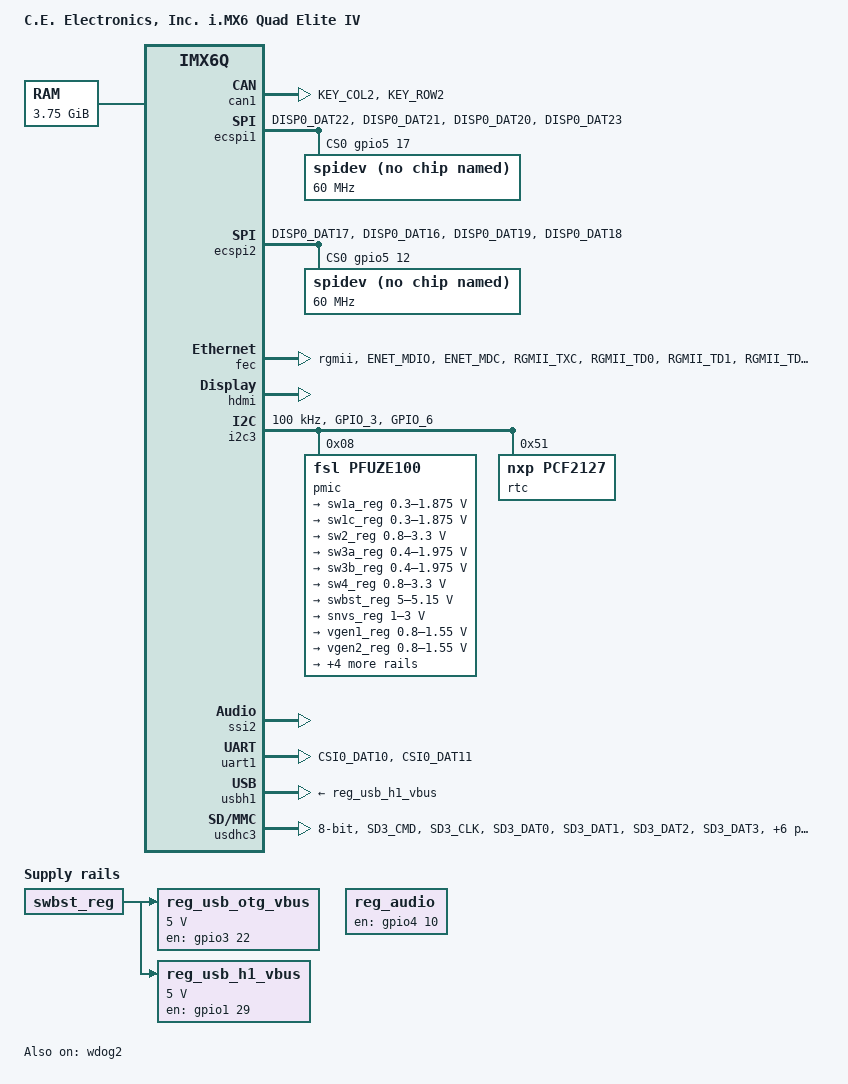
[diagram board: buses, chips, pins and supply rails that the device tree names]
// SPDX-License-Identifier: GPL-2.0+
//
// Copyright 2012 Freescale Semiconductor, Inc.
// Copyright 2011 Linaro Ltd.

/dts-v1/;

#include "imx6q.dtsi"
#include <dt-bindings/clock/imx6qdl-clock.h>
#include <dt-bindings/gpio/gpio.h>
#include <dt-bindings/input/input.h>

/ {
	model = "C.E. Electronics, Inc. i.MX6 Quad Elite IV";
	compatible = "ce,imx6q-eliteiv", "fsl,imx6q";
	
	chosen {
		stdout-path = &uart1;
	};

	memory@10000000 {
		reg = <0x10000000 0xEFFFFFFF>;
	};

	regulators {
		compatible = "simple-bus";
		#address-cells = <1>;
		#size-cells = <0>;

		reg_usb_otg_vbus: regulator@0 {
			compatible = "regulator-fixed";
			reg = <0>;
			regulator-name = "usb_otg_vbus";
			regulator-min-microvolt = <5000000>;
			regulator-max-microvolt = <5000000>;
			gpio = <&gpio3 22 0>;
			enable-active-high;
			vin-supply = <&swbst_reg>;
		};

		reg_usb_h1_vbus: regulator@1 {
			compatible = "regulator-fixed";
			reg = <1>;
			regulator-name = "usb_h1_vbus";
			regulator-min-microvolt = <5000000>;
			regulator-max-microvolt = <5000000>;
			gpio = <&gpio1 29 0>;
			enable-active-high;
			vin-supply = <&swbst_reg>;
		};

		reg_audio: regulator@2 {
			compatible = "regulator-fixed";
			reg = <2>;
			regulator-name = "wm8962-supply";
			gpio = <&gpio4 10 0>;
			enable-active-high;
		};
	};
};

&can1 {
	pinctrl-names = "default";
	pinctrl-0 = <&pinctrl_flexcan1>;
	status = "okay";
};

/* Elite IV SPI1 FPGA Programming */
&ecspi1 {
	cs-gpios = <&gpio5 17 GPIO_ACTIVE_HIGH>;
	pinctrl-names = "default";
	pinctrl-0 = <&pinctrl_ecspi1>;
	status = "okay";

	spidev@0 {
		compatible = "spidev";
		reg = <0>;
		spi-max-frequency = <60000000>;
	};
};

/* Elite IV SPI2 FPGA Control and Configuration */
&ecspi2 {
	cs-gpios = <&gpio5 12 GPIO_ACTIVE_HIGH>;
	pinctrl-names = "default";
	pinctrl-0 = <&pinctrl_ecspi2>;
	status = "okay";

	spidev@0 {
		compatible = "spidev";
		reg = <0>;
		spi-max-frequency = <60000000>;
	};
};

&ipu1_csi0_from_ipu1_csi0_mux {
	bus-width = <8>;
	data-shift = <12>; /* Lines 19:12 used */
	hsync-active = <1>;
	vsync-active = <1>;
};

&clks {
	assigned-clocks = <&clks IMX6QDL_CLK_LDB_DI0_SEL>,
			  <&clks IMX6QDL_CLK_LDB_DI1_SEL>;
	assigned-clock-parents = <&clks IMX6QDL_CLK_PLL3_USB_OTG>,
				 <&clks IMX6QDL_CLK_PLL3_USB_OTG>;
};

&fec {
	pinctrl-names = "default";
	pinctrl-0 = <&pinctrl_enet>;
	phy-mode = "rgmii";
	phy-reset-gpios = <&gpio1 25 GPIO_ACTIVE_LOW>;
	status = "okay";
};

&hdmi {
	ddc-i2c-bus = <&i2c3>;
	status = "okay";
};

&i2c3 {
	clock-frequency = <100000>;
	pinctrl-names = "default";
	pinctrl-0 = <&pinctrl_i2c3>;
	status = "okay";

	pmic: pfuze100@8 {
		compatible = "fsl,pfuze100";
		reg = <0x08>;

		regulators {
			sw1a_reg: sw1ab {
				regulator-min-microvolt = <300000>;
				regulator-max-microvolt = <1875000>;
				regulator-boot-on;
				regulator-always-on;
				regulator-ramp-delay = <6250>;
			};

			sw1c_reg: sw1c {
				regulator-min-microvolt = <300000>;
				regulator-max-microvolt = <1875000>;
				regulator-boot-on;
				regulator-always-on;
				regulator-ramp-delay = <6250>;
			};

			sw2_reg: sw2 {
				regulator-min-microvolt = <800000>;
				regulator-max-microvolt = <3300000>;
				regulator-boot-on;
				regulator-always-on;
				regulator-ramp-delay = <6250>;
			};

			sw3a_reg: sw3a {
				regulator-min-microvolt = <400000>;
				regulator-max-microvolt = <1975000>;
				regulator-boot-on;
				regulator-always-on;
			};

			sw3b_reg: sw3b {
				regulator-min-microvolt = <400000>;
				regulator-max-microvolt = <1975000>;
				regulator-boot-on;
				regulator-always-on;
			};

			sw4_reg: sw4 {
				regulator-min-microvolt = <800000>;
				regulator-max-microvolt = <3300000>;
				regulator-always-on;
			};

			swbst_reg: swbst {
				regulator-min-microvolt = <5000000>;
				regulator-max-microvolt = <5150000>;
			};

			snvs_reg: vsnvs {
				regulator-min-microvolt = <1000000>;
				regulator-max-microvolt = <3000000>;
				regulator-boot-on;
				regulator-always-on;
			};

			vref_reg: vrefddr {
				regulator-boot-on;
				regulator-always-on;
			};

			vgen1_reg: vgen1 {
				regulator-min-microvolt = <800000>;
				regulator-max-microvolt = <1550000>;
			};

			vgen2_reg: vgen2 {
				regulator-min-microvolt = <800000>;
				regulator-max-microvolt = <1550000>;
			};

			vgen3_reg: vgen3 {
				regulator-min-microvolt = <1800000>;
				regulator-max-microvolt = <3300000>;
			};

			vgen4_reg: vgen4 {
				regulator-min-microvolt = <1800000>;
				regulator-max-microvolt = <3300000>;
				regulator-always-on;
			};

			vgen5_reg: vgen5 {
				regulator-min-microvolt = <1800000>;
				regulator-max-microvolt = <3300000>;
				regulator-always-on;
			};

			vgen6_reg: vgen6 {
				regulator-min-microvolt = <1800000>;
				regulator-max-microvolt = <3300000>;
				regulator-always-on;
			};
		};
	};
	
	rtc: pcf2127@51 {
		compatible = "nxp,pcf2127";
		reg = <0x51>;
		status = "okay";
	};
};


&iomuxc {
	pinctrl-names = "default";
	pinctrl-0 = <&pinctrl_hog>;

	pinctrl_hog: hoggrp {
		fsl,pins = <
			MX6QDL_PAD_GPIO_19__GPIO4_IO05 0x1b0b0
			MX6QDL_PAD_NANDF_D1__GPIO2_IO01 0x1b0b0
			MX6QDL_PAD_EIM_D22__GPIO3_IO22  0x1b0b0
		>;
	};

	pinctrl_ecspi1: ecspi1grp {
		fsl,pins = <
			MX6QDL_PAD_DISP0_DAT22__ECSPI1_MISO 0x100b1
			MX6QDL_PAD_DISP0_DAT21__ECSPI1_MOSI 0x100b1
			MX6QDL_PAD_DISP0_DAT20__ECSPI1_SCLK 0x100b1
			MX6QDL_PAD_DISP0_DAT23__GPIO5_IO17 0x1b0b0
		>;
	};

	pinctrl_ecspi2: ecspi2grp {
		fsl,pins = <
			MX6QDL_PAD_DISP0_DAT17__ECSPI2_MISO 0x100b1
			MX6QDL_PAD_DISP0_DAT16__ECSPI2_MOSI 0x100b1
			MX6QDL_PAD_DISP0_DAT19__ECSPI2_SCLK 0x100b1
			MX6QDL_PAD_DISP0_DAT18__GPIO5_IO12 0x1b0b0
		>;
	};

	pinctrl_enet: enetgrp {
		fsl,pins = <
			MX6QDL_PAD_ENET_MDIO__ENET_MDIO		0x1b0b0
			MX6QDL_PAD_ENET_MDC__ENET_MDC		0x1b0b0
			MX6QDL_PAD_RGMII_TXC__RGMII_TXC		0x1b030
			MX6QDL_PAD_RGMII_TD0__RGMII_TD0		0x1b030
			MX6QDL_PAD_RGMII_TD1__RGMII_TD1		0x1b030
			MX6QDL_PAD_RGMII_TD2__RGMII_TD2		0x1b030
			MX6QDL_PAD_RGMII_TD3__RGMII_TD3		0x1b030
			MX6QDL_PAD_RGMII_TX_CTL__RGMII_TX_CTL	0x1b030
			MX6QDL_PAD_ENET_REF_CLK__ENET_TX_CLK	0x1b0b0
			MX6QDL_PAD_RGMII_RXC__RGMII_RXC		0x1b030
			MX6QDL_PAD_RGMII_RD0__RGMII_RD0		0x1b030
			MX6QDL_PAD_RGMII_RD1__RGMII_RD1		0x1b030
			MX6QDL_PAD_RGMII_RD2__RGMII_RD2		0x1b030
			MX6QDL_PAD_RGMII_RD3__RGMII_RD3		0x1b030
			MX6QDL_PAD_RGMII_RX_CTL__RGMII_RX_CTL	0x1b030
			MX6QDL_PAD_GPIO_16__ENET_REF_CLK	0x4001b0a8
		>;
	};

	pinctrl_flexcan1: flexcan1grp {
		fsl,pins = <
			MX6QDL_PAD_KEY_COL2__FLEXCAN1_TX 0x1b0b0
			MX6QDL_PAD_KEY_ROW2__FLEXCAN1_RX 0x1b0b0
		>;
	};

	pinctrl_i2c3: i2c3grp {
		fsl,pins = <
			MX6QDL_PAD_GPIO_3__I2C3_SCL		0x4001b8b1
			MX6QDL_PAD_GPIO_6__I2C3_SDA		0x4001b8b1
		>;
	};

	pinctrl_ov5640: ov5640grp {
		fsl,pins = <
			MX6QDL_PAD_SD1_DAT2__GPIO1_IO19 0x1b0b0
			MX6QDL_PAD_SD1_CLK__GPIO1_IO20  0x1b0b0
		>;
	};

	pinctrl_uart1: uart1grp {
		fsl,pins = <
			MX6QDL_PAD_CSI0_DAT10__UART1_TX_DATA	0x1b0b1
			MX6QDL_PAD_CSI0_DAT11__UART1_RX_DATA	0x1b0b1
		>;
	};

	pinctrl_usdhc3: usdhc3grp {
		fsl,pins = <
			MX6QDL_PAD_SD3_CMD__SD3_CMD		0x17059
			MX6QDL_PAD_SD3_CLK__SD3_CLK		0x10059
			MX6QDL_PAD_SD3_DAT0__SD3_DATA0		0x17059
			MX6QDL_PAD_SD3_DAT1__SD3_DATA1		0x17059
			MX6QDL_PAD_SD3_DAT2__SD3_DATA2		0x17059
			MX6QDL_PAD_SD3_DAT3__SD3_DATA3		0x17059
			MX6QDL_PAD_SD3_DAT4__SD3_DATA4		0x17059
			MX6QDL_PAD_SD3_DAT5__SD3_DATA5		0x17059
			MX6QDL_PAD_SD3_DAT6__SD3_DATA6		0x17059
			MX6QDL_PAD_SD3_DAT7__SD3_DATA7		0x17059
		>;
	};

	pinctrl_wdog: wdoggrp {
		fsl,pins = <
			MX6QDL_PAD_GPIO_1__WDOG2_B		0x1b0b0
		>;
	};
};

&reg_arm {
       vin-supply = <&sw1a_reg>;
};

&reg_pu {
       vin-supply = <&sw1c_reg>;
};

&reg_soc {
       vin-supply = <&sw1c_reg>;
};

&snvs_poweroff {
	status = "okay";
};

&ssi2 {
	status = "okay";
};

&uart1 {
	pinctrl-names = "default";
	pinctrl-0 = <&pinctrl_uart1>;
	status = "okay";
};

&usbh1 {
	vbus-supply = <&reg_usb_h1_vbus>;
	status = "okay";
};

&usdhc3 {
	pinctrl-names = "default";
	pinctrl-0 = <&pinctrl_usdhc3>;
	bus-width = <8>;
	cd-gpios = <&gpio2 0 GPIO_ACTIVE_LOW>;
//	wp-gpios = <&gpio2 1 GPIO_ACTIVE_HIGH>;
	wp-gpios = <&gpio2 1 GPIO_ACTIVE_LOW>;
	status = "okay";
};

&wdog1 {
	status = "disabled";
};

&wdog2 {
	pinctrl-names = "default";
	pinctrl-0 = <&pinctrl_wdog>;
	fsl,ext-reset-output;
	status = "okay";
};
